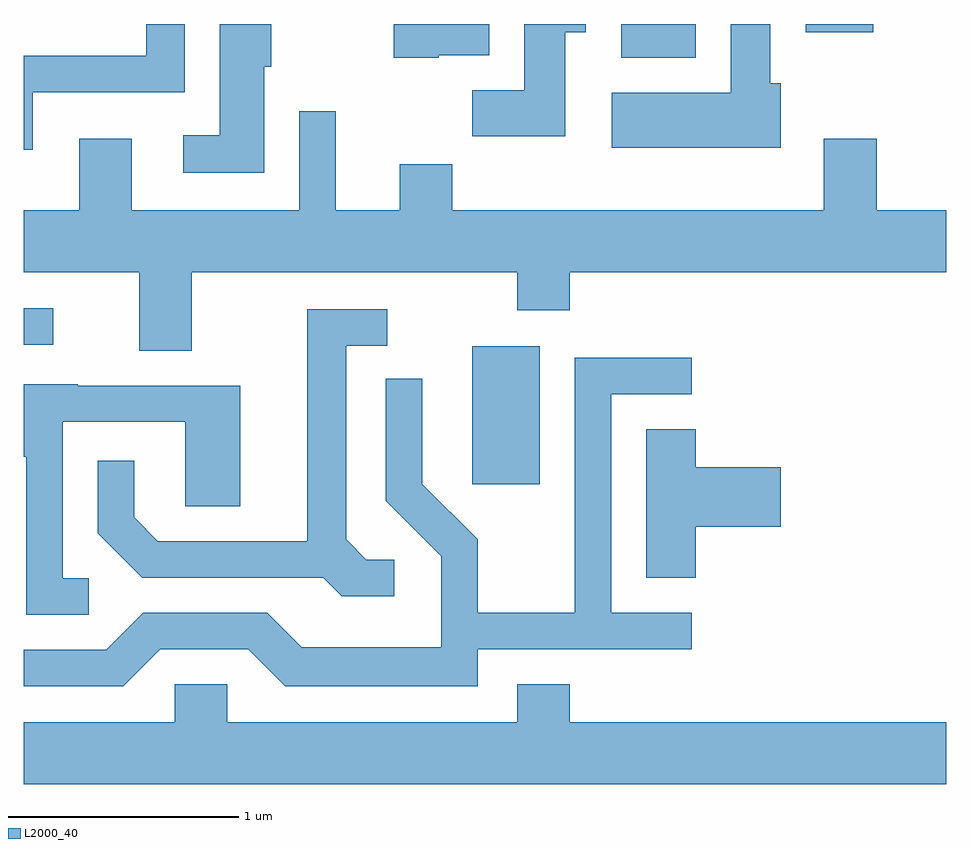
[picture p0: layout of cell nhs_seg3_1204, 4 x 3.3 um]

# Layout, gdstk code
import gdstk
lib = gdstk.Library(unit=1e-6, precision=1e-09)
def R(c, l, rs):  # rectangles x0, y0, x1, y1
    for r in rs: c.add(gdstk.rectangle(r[:2], r[2:], *l))
def P(c, l, *ps):  # polygons
    for p in ps: c.add(gdstk.Polygon(p, *l))
L2000_40 = (2000, 40)

nhs_seg3_1204 = lib.new_cell('nhs_seg3_1204')
R(nhs_seg3_1204, L2000_40, [(221.556,1213.896,221.849,1214.494), (219.611,1214.501,219.738,1214.659), (222.201,1215.746,222.524,1215.892), (223.001,1215.856,223.294,1215.892)])
P(nhs_seg3_1204, L2000_40, [(221.959,1215.856),(222.049,1215.856),(222.049,1215.892),(221.781,1215.892),(221.781,1215.604),(221.556,1215.604),(221.556,1215.406),(221.959,1215.406)],
  [(222.894,1215.634),(222.849,1215.634),(222.849,1215.892),(222.676,1215.892),(222.676,1215.594),(222.161,1215.594),(222.161,1215.356),(222.894,1215.356)],
  [(219.649,1215.596),(220.309,1215.596),(220.309,1215.892),(220.141,1215.892),(220.141,1215.754),(219.611,1215.754),(219.611,1215.346),(219.649,1215.346)],
  [(221.41,1215.756),(221.629,1215.756),(221.629,1215.892),(221.216,1215.892),(221.216,1215.746),(221.41,1215.746)],
  [(220.654,1215.706),(220.684,1215.706),(220.684,1215.892),(220.461,1215.892),(220.461,1215.409),(220.303,1215.409),(220.303,1215.246),(220.654,1215.246)],
  [(220.339,1214.816),(221.751,1214.816),(221.751,1214.651),(221.979,1214.651),(221.979,1214.816),(223.611,1214.816),(223.611,1215.084),(223.309,1215.084),(223.309,1215.394),(223.081,1215.394),(223.081,1215.084),(221.469,1215.084),(221.469,1215.284),(221.241,1215.284),(221.241,1215.084),(220.964,1215.084),(220.964,1215.513),(220.806,1215.513),(220.806,1215.084),(220.079,1215.084),(220.079,1215.394),(219.851,1215.394),(219.851,1215.084),(219.611,1215.084),(219.611,1214.816),(220.111,1214.816),(220.111,1214.476),(220.339,1214.476)],
  [(221.218,1213.569),(221.097,1213.569),(221.009,1213.657),(221.009,1214.496),(221.188,1214.496),(221.188,1214.654),(220.841,1214.654),(220.841,1213.649),(220.192,1213.649),(220.089,1213.752),(220.089,1213.998),(219.931,1213.998),(219.931,1213.684),(220.124,1213.491),(220.909,1213.491),(220.989,1213.411),(221.218,1213.411)],
  [(220.202,1213.181),(220.584,1213.181),(220.744,1213.021),(221.579,1213.021),(221.579,1213.181),(222.508,1213.181),(222.508,1213.339),(222.159,1213.339),(222.159,1214.286),(222.508,1214.286),(222.508,1214.444),(222.001,1214.444),(222.001,1213.339),(221.579,1213.339),(221.579,1213.657),(221.339,1213.897),(221.339,1214.353),(221.181,1214.353),(221.181,1213.824),(221.421,1213.584),(221.421,1213.189),(220.817,1213.189),(220.667,1213.339),(220.129,1213.339),(219.969,1213.179),(219.611,1213.179),(219.611,1213.021),(220.042,1213.021)],
  [(219.893,1213.489),(219.779,1213.489),(219.779,1214.166),(220.311,1214.166),(220.311,1213.801),(220.549,1213.801),(220.549,1214.324),(219.845,1214.324),(219.845,1214.329),(219.611,1214.329),(219.611,1214.016),(219.621,1214.016),(219.621,1213.331),(219.893,1213.331)],
  [(222.524,1213.711),(222.894,1213.711),(222.894,1213.969),(222.524,1213.969),(222.524,1214.134),(222.311,1214.134),(222.311,1213.491),(222.524,1213.491)],
  [(223.611,1212.864),(221.979,1212.864),(221.979,1213.029),(221.751,1213.029),(221.751,1212.864),(220.494,1212.864),(220.494,1213.029),(220.266,1213.029),(220.266,1212.864),(219.611,1212.864),(219.611,1212.596),(223.611,1212.596)])

lib.write_gds('nhs_seg3_1204.gds')
